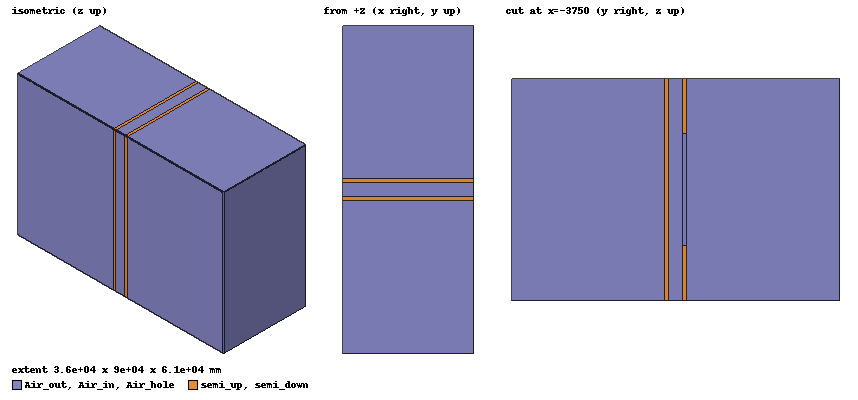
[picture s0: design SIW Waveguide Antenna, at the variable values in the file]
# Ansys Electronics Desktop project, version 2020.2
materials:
  vacuum: permittivity=1
  Rogers RO4003 (tm): permittivity=3.55 dielectric_loss_tangent=0.0027
  copper: permeability=0.999991 conductivity=58000000

design SIW Waveguide Antenna (HFSS, DrivenModal, model units mm)
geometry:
  Air_out [Rogers RO4003 (tm)] = box(corner=(-18m, -45m, -31m), size=(36m, 90m, 61m))
  Air_in1 = box(corner=(-18m, -2m, -31m), size=(36m, 4m, 61m))
  semi_up1 = box(corner=(-18m, 2m, -31m), size=(36m, 1m, 61m))
  semi_down1 = box(corner=(-18m, -3m, -31m), size=(36m, 1m, 61m))
  Air_out.subtract(semi_up1)
  Air_out.subtract(semi_down1)
  Air_out.subtract(Air_in1)
  semi_up [copper, solve inside] = box(corner=(-18m, 2m, -31m), size=(36m, 1m, 61m))
  semi_down [copper, solve inside] = box(corner=(-18m, -3m, -31m), size=(36m, 1m, 61m))
  Air_in [Rogers RO4003 (tm)] = box(corner=(-18m, -2m, -31m), size=(36m, 4m, 61m))
  Air_hole1 = box(corner=(-4.25m, 2m, -16m), size=(1m, 1m, 31m))
  semi_up.subtract(Air_hole1)
  Air_hole [Rogers RO4003 (tm)] = box(corner=(-4.25m, 2m, -16m), size=(1m, 1m, 31m))
  cylinder1 = cylinder(axis=Y, base_centre=(-8.475m, -2m, -29m), radius=1m, height=4m)
  cylinder_1 = cylinder(axis=Y, base_centre=(8.525m, -2m, -29m), radius=1m, height=4m)
  Air_in.subtract(cylinder1)
  Air_in.subtract(cylinder_1)
  cylinder2 = cylinder(axis=Y, base_centre=(-8.4m, -2m, -26m), radius=1m, height=4m)
  cylinder_2 = cylinder(axis=Y, base_centre=(8.6m, -2m, -26m), radius=1m, height=4m)
  Air_in.subtract(cylinder2)
  Air_in.subtract(cylinder_2)
  cylinder3 = cylinder(axis=Y, base_centre=(-8.275m, -2m, -23m), radius=1m, height=4m)
  cylinder_3 = cylinder(axis=Y, base_centre=(8.725m, -2m, -23m), radius=1m, height=4m)
  Air_in.subtract(cylinder3)
  Air_in.subtract(cylinder_3)
  cylinder4 = cylinder(axis=Y, base_centre=(-8.1m, -2m, -20m), radius=1m, height=4m)
  cylinder_4 = cylinder(axis=Y, base_centre=(8.9m, -2m, -20m), radius=1m, height=4m)
  Air_in.subtract(cylinder4)
  Air_in.subtract(cylinder_4)
  cylinder5 = cylinder(axis=Y, base_centre=(-7.875m, -2m, -17m), radius=1m, height=4m)
  cylinder_5 = cylinder(axis=Y, base_centre=(9.125m, -2m, -17m), radius=1m, height=4m)
  Air_in.subtract(cylinder5)
  Air_in.subtract(cylinder_5)
  cylinder6 = cylinder(axis=Y, base_centre=(-7.6m, -2m, -14m), radius=1m, height=4m)
  cylinder_6 = cylinder(axis=Y, base_centre=(9.4m, -2m, -14m), radius=1m, height=4m)
  Air_in.subtract(cylinder6)
  Air_in.subtract(cylinder_6)
  cylinder7 = cylinder(axis=Y, base_centre=(-7.275m, -2m, -11m), radius=1m, height=4m)
  cylinder_7 = cylinder(axis=Y, base_centre=(9.725m, -2m, -11m), radius=1m, height=4m)
  Air_in.subtract(cylinder7)
  Air_in.subtract(cylinder_7)
  cylinder8 = cylinder(axis=Y, base_centre=(-6.9m, -2m, -8m), radius=1m, height=4m)
  cylinder_8 = cylinder(axis=Y, base_centre=(10.1m, -2m, -8m), radius=1m, height=4m)
  Air_in.subtract(cylinder8)
  Air_in.subtract(cylinder_8)
  cylinder9 = cylinder(axis=Y, base_centre=(-6.475m, -2m, -5m), radius=1m, height=4m)
  cylinder_9 = cylinder(axis=Y, base_centre=(10.525m, -2m, -5m), radius=1m, height=4m)
  Air_in.subtract(cylinder9)
  Air_in.subtract(cylinder_9)
  cylinder10 = cylinder(axis=Y, base_centre=(-6m, -2m, -2m), radius=1m, height=4m)
  cylinder_10 = cylinder(axis=Y, base_centre=(11m, -2m, -2m), radius=1m, height=4m)
  Air_in.subtract(cylinder10)
  Air_in.subtract(cylinder_10)
  cylinder11 = cylinder(axis=Y, base_centre=(-6.475m, -2m, 1m), radius=1m, height=4m)
  cylinder_11 = cylinder(axis=Y, base_centre=(10.525m, -2m, 1m), radius=1m, height=4m)
  Air_in.subtract(cylinder11)
  Air_in.subtract(cylinder_11)
  cylinder12 = cylinder(axis=Y, base_centre=(-6.9m, -2m, 4m), radius=1m, height=4m)
  cylinder_12 = cylinder(axis=Y, base_centre=(10.1m, -2m, 4m), radius=1m, height=4m)
  Air_in.subtract(cylinder12)
  Air_in.subtract(cylinder_12)
  cylinder13 = cylinder(axis=Y, base_centre=(-7.275m, -2m, 7m), radius=1m, height=4m)
  cylinder_13 = cylinder(axis=Y, base_centre=(9.725m, -2m, 7m), radius=1m, height=4m)
  Air_in.subtract(cylinder13)
  Air_in.subtract(cylinder_13)
  cylinder14 = cylinder(axis=Y, base_centre=(-7.6m, -2m, 10m), radius=1m, height=4m)
  cylinder_14 = cylinder(axis=Y, base_centre=(9.4m, -2m, 10m), radius=1m, height=4m)
  Air_in.subtract(cylinder14)
  Air_in.subtract(cylinder_14)
  cylinder15 = cylinder(axis=Y, base_centre=(-7.875m, -2m, 13m), radius=1m, height=4m)
  cylinder_15 = cylinder(axis=Y, base_centre=(9.125m, -2m, 13m), radius=1m, height=4m)
  Air_in.subtract(cylinder15)
  Air_in.subtract(cylinder_15)
  cylinder16 = cylinder(axis=Y, base_centre=(-8.1m, -2m, 16m), radius=1m, height=4m)
  cylinder_16 = cylinder(axis=Y, base_centre=(8.9m, -2m, 16m), radius=1m, height=4m)
  Air_in.subtract(cylinder16)
  Air_in.subtract(cylinder_16)
  cylinder17 = cylinder(axis=Y, base_centre=(-8.275m, -2m, 19m), radius=1m, height=4m)
  cylinder_17 = cylinder(axis=Y, base_centre=(8.725m, -2m, 19m), radius=1m, height=4m)
  Air_in.subtract(cylinder17)
  Air_in.subtract(cylinder_17)
  cylinder18 = cylinder(axis=Y, base_centre=(-8.4m, -2m, 22m), radius=1m, height=4m)
  cylinder_18 = cylinder(axis=Y, base_centre=(8.6m, -2m, 22m), radius=1m, height=4m)
  Air_in.subtract(cylinder18)
  Air_in.subtract(cylinder_18)
  cylinder19 = cylinder(axis=Y, base_centre=(-8.475m, -2m, 25m), radius=1m, height=4m)
  cylinder_19 = cylinder(axis=Y, base_centre=(8.525m, -2m, 25m), radius=1m, height=4m)
  Air_in.subtract(cylinder19)
  Air_in.subtract(cylinder_19)
  cylinder20 = cylinder(axis=Y, base_centre=(-8.5m, -2m, 28m), radius=1m, height=4m)
  cylinder_20 = cylinder(axis=Y, base_centre=(8.5m, -2m, 28m), radius=1m, height=4m)
  Air_in.subtract(cylinder20)
  Air_in.subtract(cylinder_20)
  cylinder1_1 [copper, solve inside] = cylinder(axis=Y, base_centre=(-8.475m, -2m, -29m), radius=1m, height=4m)
  cylinder_1_1 [copper, solve inside] = cylinder(axis=Y, base_centre=(8.525m, -2m, -29m), radius=1m, height=4m)
  cylinder2_1 [copper, solve inside] = cylinder(axis=Y, base_centre=(-8.4m, -2m, -26m), radius=1m, height=4m)
  cylinder_2_1 [copper, solve inside] = cylinder(axis=Y, base_centre=(8.6m, -2m, -26m), radius=1m, height=4m)
  cylinder3_1 [copper, solve inside] = cylinder(axis=Y, base_centre=(-8.275m, -2m, -23m), radius=1m, height=4m)
  cylinder_3_1 [copper, solve inside] = cylinder(axis=Y, base_centre=(8.725m, -2m, -23m), radius=1m, height=4m)
  cylinder4_1 [copper, solve inside] = cylinder(axis=Y, base_centre=(-8.1m, -2m, -20m), radius=1m, height=4m)
  cylinder_4_1 [copper, solve inside] = cylinder(axis=Y, base_centre=(8.9m, -2m, -20m), radius=1m, height=4m)
  cylinder5_1 [copper, solve inside] = cylinder(axis=Y, base_centre=(-7.875m, -2m, -17m), radius=1m, height=4m)
  cylinder_5_1 [copper, solve inside] = cylinder(axis=Y, base_centre=(9.125m, -2m, -17m), radius=1m, height=4m)
  cylinder6_1 [copper, solve inside] = cylinder(axis=Y, base_centre=(-7.6m, -2m, -14m), radius=1m, height=4m)
  cylinder_6_1 [copper, solve inside] = cylinder(axis=Y, base_centre=(9.4m, -2m, -14m), radius=1m, height=4m)
  cylinder7_1 [copper, solve inside] = cylinder(axis=Y, base_centre=(-7.275m, -2m, -11m), radius=1m, height=4m)
  cylinder_7_1 [copper, solve inside] = cylinder(axis=Y, base_centre=(9.725m, -2m, -11m), radius=1m, height=4m)
  cylinder8_1 [copper, solve inside] = cylinder(axis=Y, base_centre=(-6.9m, -2m, -8m), radius=1m, height=4m)
  cylinder_8_1 [copper, solve inside] = cylinder(axis=Y, base_centre=(10.1m, -2m, -8m), radius=1m, height=4m)
  cylinder9_1 [copper, solve inside] = cylinder(axis=Y, base_centre=(-6.475m, -2m, -5m), radius=1m, height=4m)
  cylinder_9_1 [copper, solve inside] = cylinder(axis=Y, base_centre=(10.525m, -2m, -5m), radius=1m, height=4m)
  cylinder10_1 [copper, solve inside] = cylinder(axis=Y, base_centre=(-6m, -2m, -2m), radius=1m, height=4m)
  cylinder_10_1 [copper, solve inside] = cylinder(axis=Y, base_centre=(11m, -2m, -2m), radius=1m, height=4m)
  cylinder11_1 [copper, solve inside] = cylinder(axis=Y, base_centre=(-6.475m, -2m, 1m), radius=1m, height=4m)
  cylinder_11_1 [copper, solve inside] = cylinder(axis=Y, base_centre=(10.525m, -2m, 1m), radius=1m, height=4m)
  cylinder12_1 [copper, solve inside] = cylinder(axis=Y, base_centre=(-6.9m, -2m, 4m), radius=1m, height=4m)
  cylinder_12_1 [copper, solve inside] = cylinder(axis=Y, base_centre=(10.1m, -2m, 4m), radius=1m, height=4m)
  cylinder13_1 [copper, solve inside] = cylinder(axis=Y, base_centre=(-7.275m, -2m, 7m), radius=1m, height=4m)
  cylinder_13_1 [copper, solve inside] = cylinder(axis=Y, base_centre=(9.725m, -2m, 7m), radius=1m, height=4m)
  cylinder14_1 [copper, solve inside] = cylinder(axis=Y, base_centre=(-7.6m, -2m, 10m), radius=1m, height=4m)
  cylinder_14_1 [copper, solve inside] = cylinder(axis=Y, base_centre=(9.4m, -2m, 10m), radius=1m, height=4m)
  cylinder15_1 [copper, solve inside] = cylinder(axis=Y, base_centre=(-7.875m, -2m, 13m), radius=1m, height=4m)
  cylinder_15_1 [copper, solve inside] = cylinder(axis=Y, base_centre=(9.125m, -2m, 13m), radius=1m, height=4m)
  cylinder16_1 [copper, solve inside] = cylinder(axis=Y, base_centre=(-8.1m, -2m, 16m), radius=1m, height=4m)
  cylinder_16_1 [copper, solve inside] = cylinder(axis=Y, base_centre=(8.9m, -2m, 16m), radius=1m, height=4m)
  cylinder17_1 [copper, solve inside] = cylinder(axis=Y, base_centre=(-8.275m, -2m, 19m), radius=1m, height=4m)
  cylinder_17_1 [copper, solve inside] = cylinder(axis=Y, base_centre=(8.725m, -2m, 19m), radius=1m, height=4m)
  cylinder18_1 [copper, solve inside] = cylinder(axis=Y, base_centre=(-8.4m, -2m, 22m), radius=1m, height=4m)
  cylinder_18_1 [copper, solve inside] = cylinder(axis=Y, base_centre=(8.6m, -2m, 22m), radius=1m, height=4m)
  cylinder19_1 [copper, solve inside] = cylinder(axis=Y, base_centre=(-8.475m, -2m, 25m), radius=1m, height=4m)
  cylinder_19_1 [copper, solve inside] = cylinder(axis=Y, base_centre=(8.525m, -2m, 25m), radius=1m, height=4m)
  cylinder20_1 [copper, solve inside] = cylinder(axis=Y, base_centre=(-8.5m, -2m, 28m), radius=1m, height=4m)
  cylinder_20_1 [copper, solve inside] = cylinder(axis=Y, base_centre=(8.5m, -2m, 28m), radius=1m, height=4m)
  Rectangle1 = rectangle(corner=(-18mm, 2mm, -31mm), x_size=36mm, y_size=-4mm)
  Rectangle2 = rectangle(corner=(18mm, 2mm, 30mm), x_size=-36mm, y_size=-4mm)
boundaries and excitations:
  1: Wave Port Objects=Rectangle1 NumModes=1 Modes{Mode1{CharImp=Zpi}}
  2: Wave Port Objects=Rectangle2 NumModes=1 Modes{Mode1{CharImp=Zpi}}
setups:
  Setup1: HfssDriven Frequency=10GHz MaxDeltaS=0.02 MaximumPasses=6 MinimumPasses=1 MinimumConvergedPasses=1 PercentRefinement=30 BasisOrder=1 PortAccuracy=2
    sweep Sweep: 9.5GHz to 10.5GHz, 5 points; Type=Interpolating InterpTolerance=0.5 InterpMaxSolns=250 InterpUsePortImped=false PassivityErrorTolerance=0.0001
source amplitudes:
  1:1: 1W 0deg
  2:1: 0W 0deg
